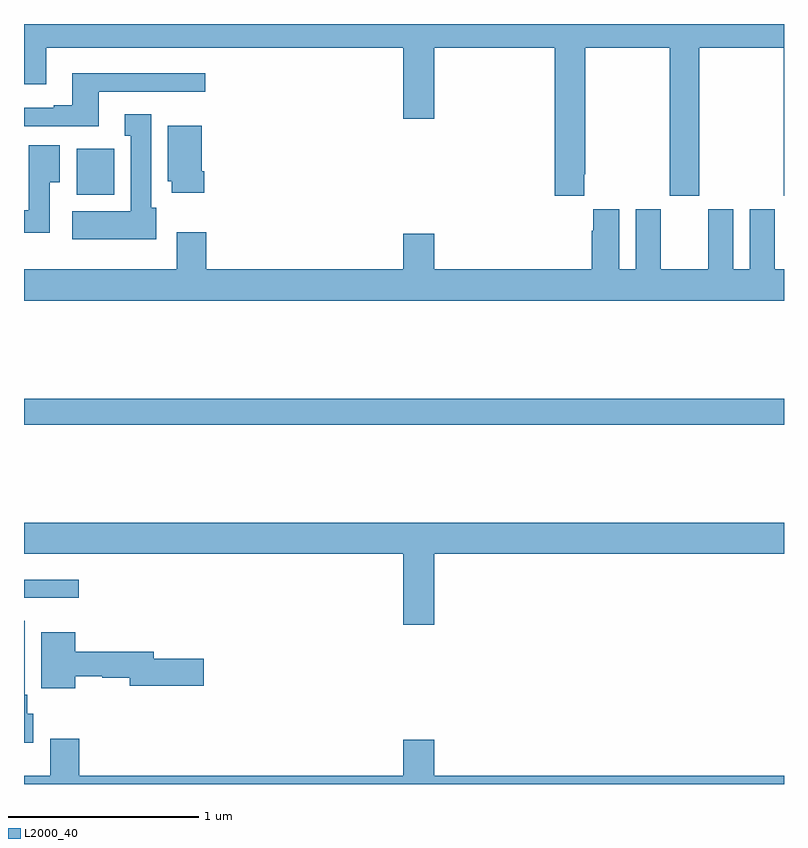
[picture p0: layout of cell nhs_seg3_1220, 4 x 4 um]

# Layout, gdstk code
import gdstk
lib = gdstk.Library(unit=1e-6, precision=1e-09)
def R(c, l, rs):  # rectangles x0, y0, x1, y1
    for r in rs: c.add(gdstk.rectangle(r[:2], r[2:], *l))
def P(c, l, *ps):  # polygons
    for p in ps: c.add(gdstk.Polygon(p, *l))
L2000_40 = (2000, 40)

nhs_seg3_1220 = lib.new_cell('nhs_seg3_1220')
R(nhs_seg3_1220, L2000_40, [(175,671.379,175.288,671.476), (175,672.292,179,672.428), (175.277,673.502,175.474,673.744)])
P(nhs_seg3_1220, L2000_40, [(175,674.082),(175.117,674.082),(175.117,674.276),(176.996,674.276),(176.996,673.902),(177.16,673.902),(177.16,674.276),(177.794,674.276),(177.794,673.497),(177.949,673.497),(177.949,673.609),(177.954,673.609),(177.954,674.276),(178.399,674.276),(178.399,673.497),(178.554,673.497),(178.554,674.276),(178.999,674.276),(178.999,673.497),(179,673.497),(179,674.4),(175,674.4)],
  [(175.393,674.043),(175.954,674.043),(175.954,674.14),(175.253,674.14),(175.253,673.972),(175.157,673.972),(175.157,673.959),(175,673.959),(175,673.863),(175.393,673.863)],
  [(175.696,673.434),(175.669,673.434),(175.669,673.924),(175.529,673.924),(175.529,673.811),(175.562,673.811),(175.562,673.414),(175.253,673.414),(175.253,673.268),(175.696,673.268)],
  [(175.949,673.624),(175.936,673.624),(175.936,673.864),(175.757,673.864),(175.757,673.572),(175.778,673.572),(175.778,673.512),(175.949,673.512)],
  [(175.135,673.568),(175.189,673.568),(175.189,673.762),(175.025,673.762),(175.025,673.42),(175,673.42),(175,673.302),(175.135,673.302)],
  [(179,673.108),(178.951,673.108),(178.951,673.426),(178.82,673.426),(178.82,673.108),(178.732,673.108),(178.732,673.426),(178.601,673.426),(178.601,673.108),(178.351,673.108),(178.351,673.426),(178.22,673.426),(178.22,673.108),(178.132,673.108),(178.132,673.426),(177.995,673.426),(177.995,673.313),(177.989,673.313),(177.989,673.108),(177.16,673.108),(177.16,673.297),(176.996,673.297),(176.996,673.108),(175.958,673.108),(175.958,673.303),(175.805,673.303),(175.805,673.108),(175,673.108),(175,672.944),(179,672.944)],
  [(177.16,671.612),(179,671.612),(179,671.776),(175,671.776),(175,671.612),(176.996,671.612),(176.996,671.238),(177.16,671.238)],
  [(175.048,670.77),(175.018,670.77),(175.018,670.87),(175.003,670.87),(175.003,671.26),(175,671.26),(175,670.616),(175.048,670.616)],
  [(175.27,670.968),(175.413,670.968),(175.413,670.96),(175.556,670.96),(175.556,670.918),(175.945,670.918),(175.945,671.06),(175.684,671.06),(175.684,671.096),(175.27,671.096),(175.27,671.2),(175.091,671.2),(175.091,670.904),(175.27,670.904)],
  [(179,670.444),(177.16,670.444),(177.16,670.633),(176.996,670.633),(176.996,670.444),(175.292,670.444),(175.292,670.639),(175.139,670.639),(175.139,670.444),(175,670.444),(175,670.4),(179,670.4)])

lib.write_gds('nhs_seg3_1220.gds')
